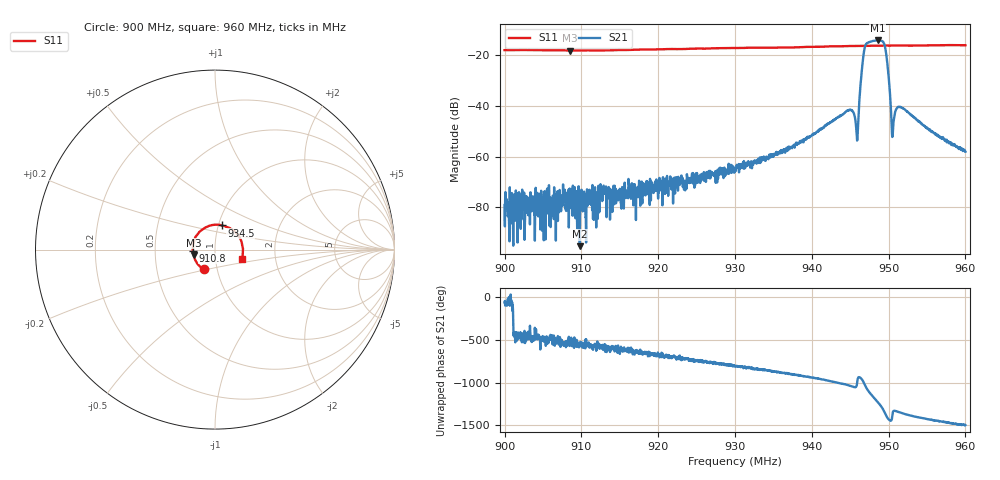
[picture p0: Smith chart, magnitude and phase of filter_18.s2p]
!Agilent Technologies,E5071C,MY46214392,A.11.36
!Date: Thu Feb 26 21:48:24 2026
!Data & Calibration Information:
!Freq	S11:NONE(--)	S21:NONE(--)	S12:NONE(--)	S22:NONE(--)
!PortZ  Port1:50+j0  Port2:50+j0
!Above PortZ is port z conversion or system Z0 setting when saving the data.
!When reading, reference impedance value at option line is always used.
# Hz S dB R 50
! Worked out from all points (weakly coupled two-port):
!   1601 points, 900 MHz to 960 MHz, reference 50 ohm
!   highest |S21| = -14.23 dB at 948.6 MHz (marker M1); lowest = -95.2 dB at 909.8 MHz (marker M2)
!   lowest |S11| = -18.2 dB at 908.5 MHz (marker M3), VSWR 1.28, Z = 39.3 - j2.39 ohm
!   |S11| at or under -10 dB: start of sweep to end of sweep
!   S12 and S22 are empty: the file has one direction only
!   S11 on the Smith chart (normalised r, x): 900 MHz: 0.86, -0.19; 910.8 MHz: 0.78, -0.01; 934.5 MHz: 1.04, +0.28; 960 MHz: 1.34, -0.14
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9e8  -18.04 -119.9  -79.05 -59.2  -200.00 0.0  -200.00 0.0
9.08475e8  -18.19 -165.9  -72.54 149.8  -200.00 0.0  -200.00 0.0
9.097875e8  -18.16 -172.5  -95.24 162.1  -200.00 0.0  -200.00 0.0
9.100125e8  -18.17 -173.6  -72.99 -171.0  -200.00 0.0  -200.00 0.0
9.108e8  -18.13 -177.7  -79.36 148.9  -200.00 0.0  -200.00 0.0
9.20025e8  -17.76 137.0  -71.40 50.9  -200.00 0.0  -200.00 0.0
9.3e8  -17.19 92.7  -64.80 -84.5  -200.00 0.0  -200.00 0.0
9.344625e8  -17.13 74.9  -60.31 -137.7  -200.00 0.0  -200.00 0.0
9.400125e8  -16.76 54.9  -51.60 139.1  -200.00 0.0  -200.00 0.0
9.448125e8  -16.43 37.7  -41.59 46.8  -200.00 0.0  -200.00 0.0
9.45825e8  -16.35 33.7  -50.57 41.4  -200.00 0.0  -200.00 0.0
9.4605e8  -16.34 32.8  -45.50 138.7  -200.00 0.0  -200.00 0.0
9.465375e8  -16.32 30.8  -25.30 115.8  -200.00 0.0  -200.00 0.0
9.4695e8  -16.33 29.1  -16.39 44.4  -200.00 0.0  -200.00 0.0
9.478875e8  -16.31 26.0  -14.47 -77.3  -200.00 0.0  -200.00 0.0
9.486e8  -16.28 23.3  -14.23 -150.7  -200.00 0.0  -200.00 0.0
9.494625e8  -16.27 20.2  -15.91 92.3  -200.00 0.0  -200.00 0.0
9.50025e8  -16.25 17.9  -29.20 5.0  -200.00 0.0  -200.00 0.0
9.50325e8  -16.26 16.9  -42.54 -7.9  -200.00 0.0  -200.00 0.0
9.505875e8  -16.25 15.9  -48.57 99.3  -200.00 0.0  -200.00 0.0
9.5175e8  -16.26 11.6  -40.72 79.7  -200.00 0.0  -200.00 0.0
9.6e8  -16.11 -19.1  -58.03 -61.0  -200.00 0.0  -200.00 0.0
